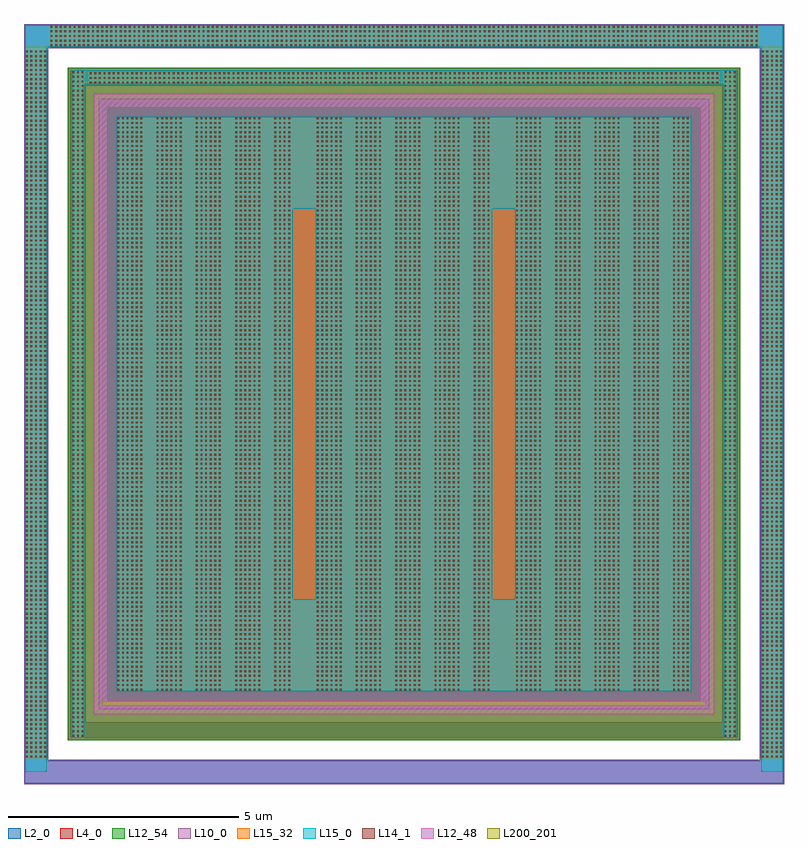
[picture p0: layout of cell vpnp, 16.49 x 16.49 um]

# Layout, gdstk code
import gdstk
lib = gdstk.Library(unit=1e-6, precision=1e-09)
def R(c, l, rs):  # rectangles x0, y0, x1, y1
    for r in rs: c.add(gdstk.rectangle(r[:2], r[2:], *l))
def A(c, l, x, y, w, h, nx, ny, dx, dy):  # array of equal rectangles
    R(c, l, [(x+i*dx, y+j*dy, x+i*dx+w, y+j*dy+h) for i in range(nx) for j in range(ny)])
L2_0 = (2, 0)
L4_0 = (4, 0)
L10_0 = (10, 0)
L12_48 = (12, 48)
L12_54 = (12, 54)
L14_1 = (14, 1)
L15_0 = (15, 0)
L15_32 = (15, 32)
L200_201 = (200, 201)

vpnp = lib.new_cell('vpnp')
R(vpnp, L2_0, [(-14.729,-6.759,1.723,-6.279), (-14.729,-6.279,-14.249,9.213), (1.243,-6.279,1.723,9.213), (-13.749,-5.779,0.743,-5.439), (-13.749,-5.439,-13.409,8.373), (0.403,-5.439,0.743,8.373), (-13.053,-5.083,0.047,8.017), (-13.749,8.373,0.743,8.713), (-14.729,9.213,1.723,9.693)])
R(vpnp, L4_0, [(-13.805,-5.835,0.799,8.769)])
R(vpnp, L10_0, [(-14.75,-6.78,1.744,-6.258), (-14.75,-6.258,-14.228,9.192), (1.222,-6.258,1.744,9.192), (-13.123,-5.153,0.117,8.087), (-14.75,9.192,1.744,9.714)])
R(vpnp, L12_48, [(-13.234,-5.264,0.228,-4.958), (-13.234,-4.958,-12.928,7.892), (-0.078,-4.958,0.228,7.892), (-13.234,7.892,0.228,8.198)])
R(vpnp, L12_54, [(-13.805,-5.835,0.799,8.769)])
A(vpnp, L14_1, -14.709, -6.203, 0.04, 0.04, 5, 154, 0.1, 0.1)
A(vpnp, L14_1, 1.263, -6.203, 0.04, 0.04, 5, 154, 0.1, 0.1)
A(vpnp, L14_1, -13.699, -5.753, 0.04, 0.04, 3, 145, 0.1, 0.1)
A(vpnp, L14_1, 0.453, -5.753, 0.04, 0.04, 3, 145, 0.1, 0.1)
A(vpnp, L14_1, -12.723, -4.753, 0.04, 0.04, 6, 125, 0.1, 0.1)
A(vpnp, L14_1, -11.871, -4.753, 0.04, 0.04, 6, 125, 0.1, 0.1)
A(vpnp, L14_1, -11.019, -4.753, 0.04, 0.04, 6, 125, 0.1, 0.1)
A(vpnp, L14_1, -10.167, -4.753, 0.04, 0.04, 6, 125, 0.1, 0.1)
A(vpnp, L14_1, -9.315, -4.753, 0.04, 0.04, 4, 125, 0.1, 0.1)
A(vpnp, L14_1, -8.397, -4.753, 0.04, 0.04, 6, 125, 0.1, 0.1)
A(vpnp, L14_1, -7.545, -4.753, 0.04, 0.04, 6, 125, 0.1, 0.1)
A(vpnp, L14_1, -6.693, -4.753, 0.04, 0.04, 6, 125, 0.1, 0.1)
A(vpnp, L14_1, -5.841, -4.753, 0.04, 0.04, 6, 125, 0.1, 0.1)
A(vpnp, L14_1, -4.989, -4.753, 0.04, 0.04, 4, 125, 0.1, 0.1)
A(vpnp, L14_1, -4.072, -4.753, 0.04, 0.04, 6, 125, 0.1, 0.1)
A(vpnp, L14_1, -3.22, -4.753, 0.04, 0.04, 6, 125, 0.1, 0.1)
A(vpnp, L14_1, -2.368, -4.753, 0.04, 0.04, 6, 125, 0.1, 0.1)
A(vpnp, L14_1, -1.516, -4.753, 0.04, 0.04, 6, 125, 0.1, 0.1)
A(vpnp, L14_1, -0.664, -4.753, 0.04, 0.04, 4, 125, 0.1, 0.1)
A(vpnp, L14_1, -13.323, 8.423, 0.04, 0.04, 137, 3, 0.1, 0.1)
A(vpnp, L14_1, -14.173, 9.233, 0.04, 0.04, 154, 5, 0.1, 0.1)
R(vpnp, L15_0, [(-14.727,-6.519,-14.251,9.691), (1.245,-6.519,1.721,9.691), (-13.717,-5.771,-13.441,8.705), (0.435,-5.771,0.711,8.705), (-12.741,-4.771,-0.265,-2.771), (-12.741,-2.771,-8.916,5.705), (-8.415,-2.771,-4.59,5.705), (-4.09,-2.771,-0.265,5.705), (-12.741,5.705,-0.265,7.705), (-13.441,8.405,0.435,8.705), (-14.251,9.215,1.245,9.691)])
R(vpnp, L15_32, [(-14.727,-6.221,-14.251,9.215), (1.245,-6.221,1.721,9.215), (-13.717,-5.771,-13.441,8.705), (0.435,-5.771,0.711,8.705), (-12.741,-4.771,-0.265,7.705), (-13.341,8.405,0.335,8.681), (-14.191,9.215,1.185,9.691)])
R(vpnp, L200_201, [(-13.053,-5.083,0.047,-4.983)])

lib.write_gds('vpnp.gds')
